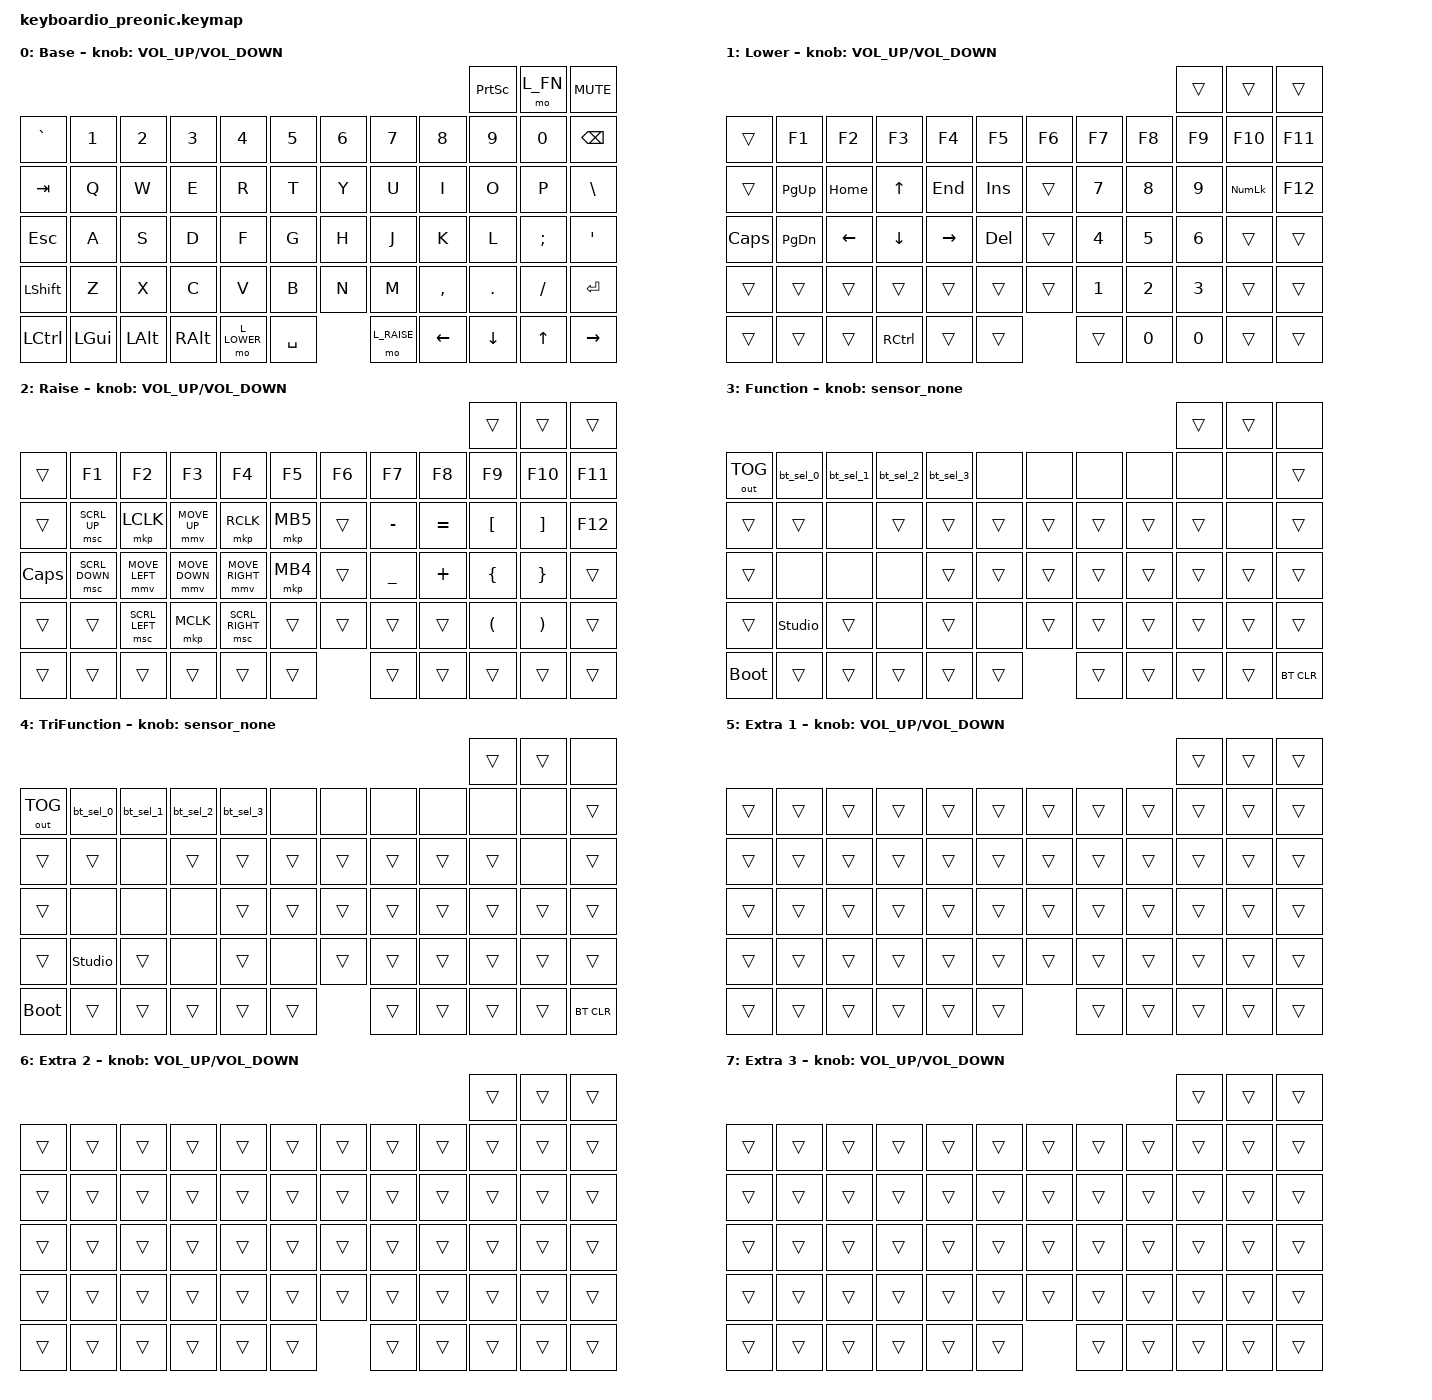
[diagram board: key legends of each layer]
/*
 * Copyright (c) 2022 Pete Johanson
 *
 * SPDX-License-Identifier: MIT
 */

#include <behaviors.dtsi>
#include <dt-bindings/zmk/bt.h>
#include <dt-bindings/zmk/ext_power.h>
#include <dt-bindings/zmk/keys.h>
#include <dt-bindings/zmk/outputs.h>

#define ZMK_POINTING_DEFAULT_MOVE_VAL 1800
#include <dt-bindings/zmk/pointing.h>

// 레이어 인덱스 정의

#define L_BASE   0
#define L_LOWER  1
#define L_RAISE  2
#define L_FN     3
#define L_TRI    4
#define L_EXTRA1 5
#define L_EXTRA2 6
#define L_EXTRA3 7

// [표준 검증 완료] 마우스 가속도 설정 (1차 선형 가속)

&mmv {
    acceleration-exponent = <1>;
    time-to-max-speed-ms = <500>;
    delay-ms = <0>;
};

&msc {
    acceleration-exponent = <1>;
    time-to-max-speed-ms = <300>;
    delay-ms = <0>;
};

&lt { quick_tap_ms = <200>; };

/ {
    macros {
        bt_sel_0: bt_sel_0 {
            compatible = "zmk,behavior-macro";
            #binding-cells = <0>;
            bindings = <&out OUT_BLE>, <&bt BT_SEL 0>;
        };
        bt_sel_1: bt_sel_1 {
            compatible = "zmk,behavior-macro";
            #binding-cells = <0>;
            bindings = <&out OUT_BLE>, <&bt BT_SEL 1>;
        };
        bt_sel_2: bt_sel_2 {
            compatible = "zmk,behavior-macro";
            #binding-cells = <0>;
            bindings = <&out OUT_BLE>, <&bt BT_SEL 2>;
        };
        bt_sel_3: bt_sel_3 {
            compatible = "zmk,behavior-macro";
            #binding-cells = <0>;
            bindings = <&out OUT_BLE>, <&bt BT_SEL 3>;
        };
    };

    behaviors {
        sensor_none: sensor_none {
            compatible = "zmk,behavior-sensor-rotate";
            #sensor-binding-cells = <0>;
            bindings = <&none>, <&none>;
        };
    };

    keymap {
        compatible = "zmk,keymap";

        base_layer {
            label = "Base";
            bindings = <
                                                                                                 &kp PRINTSCREEN  &mo L_FN   &kp C_MUTE
&kp GRAVE  &kp N1    &kp N2    &kp N3    &kp N4       &kp N5     &kp N6  &kp N7       &kp N8     &kp N9           &kp N0     &kp BACKSPACE
&kp TAB    &kp Q     &kp W     &kp E     &kp R        &kp T      &kp Y   &kp U        &kp I      &kp O            &kp P      &kp BACKSLASH
&kp ESC    &kp A     &kp S     &kp D     &kp F        &kp G      &kp H   &kp J        &kp K      &kp L            &kp SEMI   &kp SQT
&kp LSHFT  &kp Z     &kp X     &kp C     &kp V        &kp B      &kp N   &kp M        &kp COMMA  &kp PERIOD       &kp SLASH  &kp ENTER
&kp LCTRL  &kp LGUI  &kp LALT  &kp RALT  &mo L_LOWER  &kp SPACE          &mo L_RAISE  &kp LEFT   &kp DOWN         &kp UP     &kp RIGHT
            >;

            sensor-bindings = <&inc_dec_kp C_VOLUME_UP C_VOLUME_DOWN>;
        };

        lower_layer {
            label = "Lower";
            bindings = <
                                                                                             &trans  &trans             &trans
&trans    &kp F1         &kp F2    &kp F3     &kp F4     &kp F5      &kp F6  &kp F7  &kp F8  &kp F9  &kp F10            &kp F11
&trans    &kp PAGE_UP    &kp HOME  &kp UP     &kp END    &kp INSERT  &trans  &kp N7  &kp N8  &kp N9  &kp KP_NUM         &kp F12
&kp CAPS  &kp PAGE_DOWN  &kp LEFT  &kp DOWN   &kp RIGHT  &kp DEL     &trans  &kp N4  &kp N5  &kp N6  &trans             &trans
&trans    &trans         &trans    &trans     &trans     &trans      &trans  &kp N1  &kp N2  &kp N3  &trans             &trans
&trans    &trans         &trans    &kp RCTRL  &trans     &trans              &trans  &kp N0  &kp N0  &trans  &trans
            >;

            sensor-bindings = <&inc_dec_kp C_VOLUME_UP C_VOLUME_DOWN>;
        };

        raise_layer {
            label = "Raise";
            bindings = <
                                                                                                                       &trans    &trans             &trans
&trans        &kp F1          &kp F2          &kp F3          &kp F4           &kp F5    &kp F6  &kp F7     &kp F8     &kp F9    &kp F10            &kp F11
&trans        &msc SCRL_UP    &mkp LCLK       &mmv MOVE_UP    &mkp RCLK        &mkp MB5  &trans  &kp MINUS  &kp EQUAL  &kp LBKT  &kp RBKT           &kp F12
&kp CAPSLOCK  &msc SCRL_DOWN  &mmv MOVE_LEFT  &mmv MOVE_DOWN  &mmv MOVE_RIGHT  &mkp MB4  &trans  &kp UNDER  &kp PLUS   &kp LBRC  &kp RBRC           &trans
&trans        &trans          &msc SCRL_LEFT  &mkp MCLK       &msc SCRL_RIGHT  &trans    &trans  &trans     &trans     &kp LPAR  &kp RPAR           &trans
&trans        &trans          &trans          &trans          &trans           &trans            &trans     &trans     &trans    &trans  &trans
            >;

            sensor-bindings = <&inc_dec_kp C_VOLUME_UP C_VOLUME_DOWN>;
        };

        func_layer {
            label = "Function";
            bindings = <
                                                                                                              &trans  &trans  &none
&out OUT_TOG  &bt_sel_0       &bt_sel_1     &bt_sel_2     &bt_sel_3       &none         &none   &none   &none   &none   &none   &trans
&trans        &trans          &none         &trans        &trans          &trans        &trans  &trans  &trans  &trans  &none   &trans
&trans        &none           &none         &none         &trans          &trans        &trans  &trans  &trans  &trans  &trans  &trans
&trans        &studio_unlock  &trans        &none         &trans          &none         &trans  &trans  &trans  &trans  &trans  &trans
&bootloader   &trans          &trans        &trans        &trans          &trans                &trans  &trans  &trans  &trans  &bt BT_CLR
            >;

            sensor-bindings = <&sensor_none>;
        };

        tri_layer {
            label = "TriFunction";
            bindings = <
                                                                                                              &trans  &trans  &none
&out OUT_TOG  &bt_sel_0       &bt_sel_1     &bt_sel_2     &bt_sel_3       &none         &none   &none   &none   &none   &none   &trans
&trans        &trans          &none         &trans        &trans          &trans        &trans  &trans  &trans  &trans  &none   &trans
&trans        &none           &none         &none         &trans          &trans        &trans  &trans  &trans  &trans  &trans  &trans
&trans        &studio_unlock  &trans        &none         &trans          &none         &trans  &trans  &trans  &trans  &trans  &trans
&bootloader   &trans          &trans        &trans        &trans          &trans                &trans  &trans  &trans  &trans  &bt BT_CLR
            >;

            sensor-bindings = <&sensor_none>;
        };

        extra1_layer {
            label = "Extra 1";
            bindings = <
                                                                                              &trans  &trans  &trans
&trans  &trans  &trans  &trans  &trans  &trans  &trans  &trans  &trans  &trans  &trans  &trans
&trans  &trans  &trans  &trans  &trans  &trans  &trans  &trans  &trans  &trans  &trans  &trans
&trans  &trans  &trans  &trans  &trans  &trans  &trans  &trans  &trans  &trans  &trans  &trans
&trans  &trans  &trans  &trans  &trans  &trans  &trans  &trans  &trans  &trans  &trans  &trans
&trans  &trans  &trans  &trans  &trans  &trans          &trans  &trans  &trans  &trans  &trans
            >;

            sensor-bindings = <&inc_dec_kp C_VOLUME_UP C_VOLUME_DOWN>;
        };

        extra2_layer {
            label = "Extra 2";
            bindings = <
                                                                                              &trans  &trans  &trans
&trans  &trans  &trans  &trans  &trans  &trans  &trans  &trans  &trans  &trans  &trans  &trans
&trans  &trans  &trans  &trans  &trans  &trans  &trans  &trans  &trans  &trans  &trans  &trans
&trans  &trans  &trans  &trans  &trans  &trans  &trans  &trans  &trans  &trans  &trans  &trans
&trans  &trans  &trans  &trans  &trans  &trans  &trans  &trans  &trans  &trans  &trans  &trans
&trans  &trans  &trans  &trans  &trans  &trans          &trans  &trans  &trans  &trans  &trans
            >;

            sensor-bindings = <&inc_dec_kp C_VOLUME_UP C_VOLUME_DOWN>;
        };

        extra3_layer {
            label = "Extra 3";
            bindings = <
                                                                                              &trans  &trans  &trans
&trans  &trans  &trans  &trans  &trans  &trans  &trans  &trans  &trans  &trans  &trans  &trans
&trans  &trans  &trans  &trans  &trans  &trans  &trans  &trans  &trans  &trans  &trans  &trans
&trans  &trans  &trans  &trans  &trans  &trans  &trans  &trans  &trans  &trans  &trans  &trans
&trans  &trans  &trans  &trans  &trans  &trans  &trans  &trans  &trans  &trans  &trans  &trans
&trans  &trans  &trans  &trans  &trans  &trans          &trans  &trans  &trans  &trans  &trans
            >;

            sensor-bindings = <&inc_dec_kp C_VOLUME_UP C_VOLUME_DOWN>;
        };
    };

    conditional_layers {
        compatible = "zmk,conditional-layers";

        tri_layer {
            if-layers = <L_LOWER L_RAISE>;
            then-layer = <L_TRI>;
        };
    };
};
